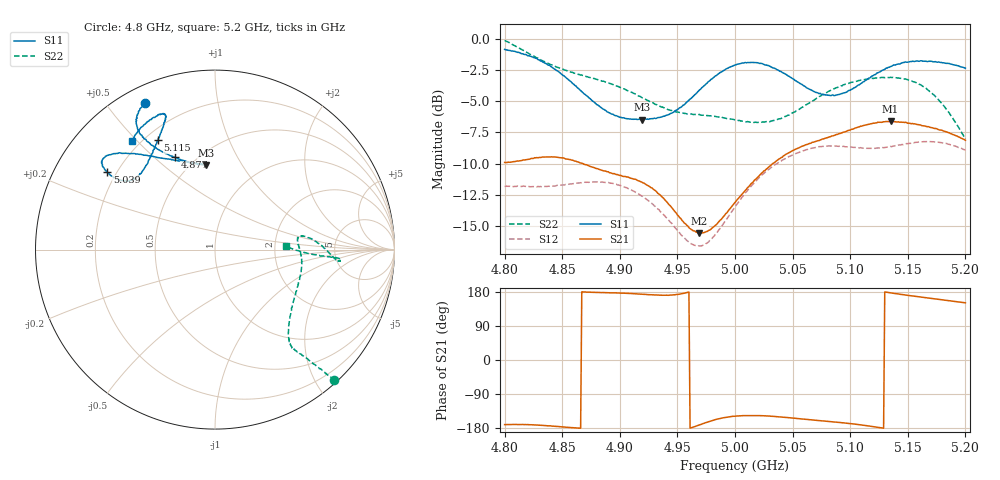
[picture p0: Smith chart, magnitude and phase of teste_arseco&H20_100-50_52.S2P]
! Network Analyzer HP8722D
! Hewlett-Packard
! Data name: Linha & Wilkinson
! Saver's name: Rodrigo Anjos
! Comments: Teste da utilização de aquisição
! continua pelo VNA HP8722D
! Time and date: 6/5/2025 13:00
!  Frequency  S11  S21  S12  S22
# HZ  S  MA R 50
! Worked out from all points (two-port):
!   401 points, 4.8 GHz to 5.2 GHz, reference 50 ohm
!   highest |S21| = -6.61 dB at 5.135 GHz (marker M1); lowest = -15.6 dB at 4.969 GHz (marker M2)
!   |S21| within 3 dB of the highest: 4.823 GHz to 4.853 GHz (30.06 MHz wide, 0.621 % of centre); 5.039 GHz to end of sweep
!   lowest |S11| = -6.5 dB at 4.919 GHz (marker M3), VSWR 2.80, Z = 29.3 + j35.6 ohm
!   |S11| at or under -10 dB: nowhere
!   |S22| runs from -8.1 to -0.1 dB; largest |S21 - S12| = 0.83
!   S11 on the Smith chart (normalised r, x): 4.8 GHz: 0.07, +0.63; 4.877 GHz: 0.39, +0.58; 5.039 GHz: 0.16, +0.31; 5.115 GHz: 0.25, +0.58; 5.2 GHz: 0.17, +0.48
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4.8e9  0.9054 115.7  0.3197 -170.5  0.2564 -85.9  0.9832 -47.5
4.834e9  0.8026 122.6  0.336 -172.8  0.2561 -76.9  0.8115 -49.6
4.849e9  0.7237 122.1  0.3338 -176.4  0.2595 -71.8  0.7573 -50.5
4.867e9  0.6137 118.0  0.3174 179.8  0.2651 -67.3  0.7151 -51.5
4.877e9  0.5604 113.5  0.3056 178.7  0.2674 -66.2  0.693 -51.8
4.902e9  0.4821 100.2  0.2818 176.5  0.2575 -66.8  0.6333 -49.6
4.919e9  0.474 96.1  0.2669 173.7  0.2347 -68.6  0.5814 -44.9
4.934e9  0.4834 99.0  0.2389 171.0  0.207 -69.3  0.5365 -37.4
4.948e9  0.5143 108.0  0.2028 172.2  0.1752 -66.3  0.5108 -28.3
4.969e9  0.6219 123.5  0.1666 -171.4  0.1482 -47.6  0.4975 -15.0
4.982e9  0.7037 130.5  0.1775 -158.3  0.1624 -32.9  0.4887 -8.2
5e9  0.7839 137.4  0.2213 -148.4  0.2128 -21.2  0.4725 -0.3
5.019e9  0.8008 141.9  0.2769 -146.7  0.2716 -18.1  0.4619 5.9
5.039e9  0.74 144.3  0.3313 -149.9  0.3218 -18.2  0.4778 9.0
5.067e9  0.6202 142.1  0.3849 -158.1  0.3651 -20.5  0.5619 4.6
5.088e9  0.5952 133.1  0.4136 -164.0  0.3715 -23.6  0.6361 -1.7
5.115e9  0.6883 117.6  0.4531 -173.6  0.364 -26.7  0.6896 -5.3
5.134e9  0.7685 111.2  0.4648 177.8  0.3687 -28.7  0.6982 -4.8
5.135e9  0.7732 111.2  0.4672 177.3  0.3706 -28.7  0.7004 -4.6
5.163e9  0.8123 113.1  0.448 165.4  0.3867 -35.5  0.6449 -3.7
5.181e9  0.7997 119.5  0.4268 158.4  0.3825 -41.2  0.5403 -2.7
5.2e9  0.7615 127.4  0.3919 150.9  0.3582 -46.3  0.3955 2.5
